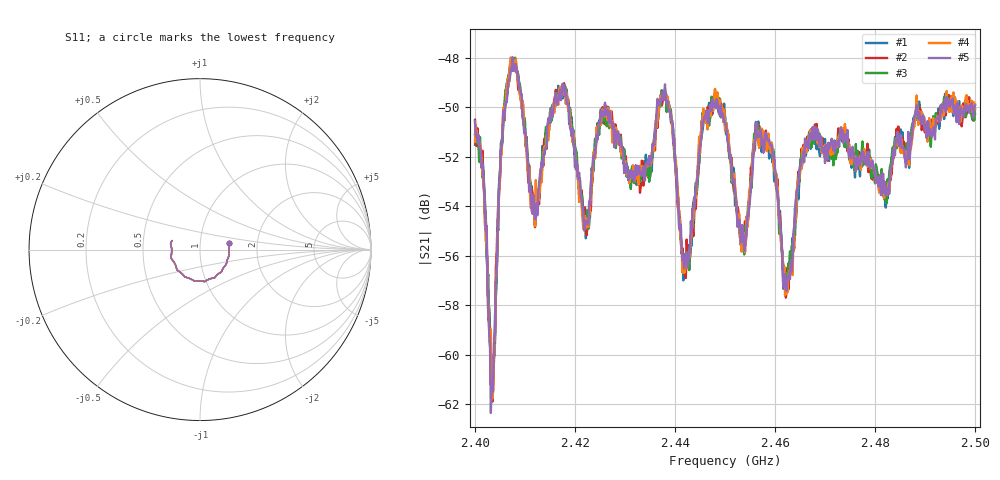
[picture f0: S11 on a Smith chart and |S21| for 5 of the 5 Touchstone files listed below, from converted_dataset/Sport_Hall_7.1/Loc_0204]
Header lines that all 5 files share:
# Hz S RI R 50
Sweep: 2.4 GHz to 2.5 GHz
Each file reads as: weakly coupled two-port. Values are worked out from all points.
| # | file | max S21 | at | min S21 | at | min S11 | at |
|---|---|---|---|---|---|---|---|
| 1 | Lab_139_3Ch1.s2p | -48.05 dB | 2.4077 GHz | -61.7 dB | 2.4033 GHz | -15.6 dB | 2.4928 GHz |
| 2 | Lab_139_5Ch1.s2p | -48.12 dB | 2.4075 GHz | -61.9 dB | 2.4035 GHz | -15.6 dB | 2.4932 GHz |
| 3 | Lab_139_6Ch1.s2p | -47.98 dB | 2.408 GHz | -61.2 dB | 2.4035 GHz | -15.6 dB | 2.4928 GHz |
| 4 | Lab_139_8Ch1.s2p | -47.98 dB | 2.4072 GHz | -61.8 dB | 2.4035 GHz | -15.6 dB | 2.4928 GHz |
| 5 | Lab_139_10Ch1.s2p | -47.97 dB | 2.4075 GHz | -62.3 dB | 2.4032 GHz | -15.6 dB | 2.4928 GHz |
